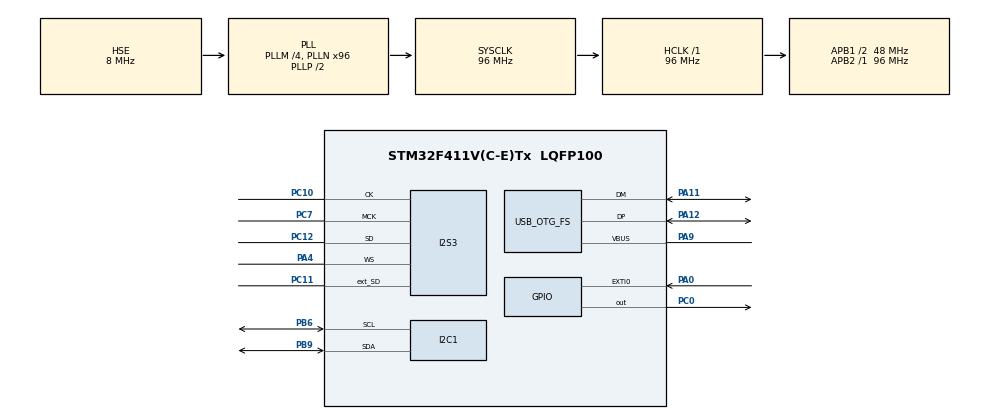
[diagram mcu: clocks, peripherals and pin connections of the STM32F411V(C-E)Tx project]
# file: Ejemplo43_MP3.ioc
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Dma.Request0=SPI3_TX
Dma.SPI3_TX.0.Direction=DMA_MEMORY_TO_PERIPH
Dma.SPI3_TX.0.FIFOMode=DMA_FIFOMODE_ENABLE
Dma.SPI3_TX.0.FIFOThreshold=DMA_FIFO_THRESHOLD_FULL
Dma.SPI3_TX.0.Instance=DMA1_Stream5
Dma.SPI3_TX.0.MemBurst=DMA_MBURST_SINGLE
Dma.SPI3_TX.0.MemDataAlignment=DMA_MDATAALIGN_HALFWORD
Dma.SPI3_TX.0.MemInc=DMA_MINC_ENABLE
Dma.SPI3_TX.0.Mode=DMA_CIRCULAR
Dma.SPI3_TX.0.PeriphBurst=DMA_PBURST_SINGLE
Dma.SPI3_TX.0.PeriphDataAlignment=DMA_PDATAALIGN_HALFWORD
Dma.SPI3_TX.0.PeriphInc=DMA_PINC_DISABLE
Dma.SPI3_TX.0.Priority=DMA_PRIORITY_LOW
FATFS._USE_LFN=1
I2S3.AudioFreq=I2S_AUDIOFREQ_44K
I2S3.ErrorAudioFreq=1.45 %
I2S3.FullDuplexMode=I2S_FULLDUPLEXMODE_ENABLE
I2S3.Instance=SPI$Index
I2S3.RealAudioFreq=44.642 KHz
I2S3.VirtualMode=I2S_MODE_MASTER
Mcu.Family=STM32F4
Mcu.Name=STM32F411V(C-E)Tx
Mcu.Package=LQFP100
NVIC.DMA1_Stream5_IRQn=true\:0\:0\:false\:false\:true\:false\:true\:true
NVIC.EXTI0_IRQn=true\:0\:0\:false\:false\:true\:true\:true\:true
NVIC.OTG_FS_IRQn=true\:0\:0\:false\:false\:true\:false\:true\:true
NVIC.PriorityGroup=NVIC_PRIORITYGROUP_4
PA0-WKUP.GPIO_PuPd=GPIO_PULLDOWN
PA0-WKUP.Signal=GPXTI0
PA11.Mode=Host_Only
PA11.Signal=USB_OTG_FS_DM
PA12.Mode=Host_Only
PA12.Signal=USB_OTG_FS_DP
PA13.Mode=Serial_Wire
PA13.Signal=SYS_JTMS-SWDIO
PA14.Mode=Serial_Wire
PA14.Signal=SYS_JTCK-SWCLK
PA4.Mode=Full_Duplex_Master
PA4.Signal=I2S3_WS
PA9.Mode=Activate_VBUS
PA9.Signal=USB_OTG_FS_VBUS
PB6.Mode=I2C
PB6.Signal=I2C1_SCL
PB9.Mode=I2C
PB9.Signal=I2C1_SDA
PC0.Signal=GPIO_Output
PC10.Mode=Full_Duplex_Master
PC10.Signal=I2S3_CK
PC11.Mode=Full_Duplex_Master
PC11.Signal=I2S3_ext_SD
PC12.Mode=Full_Duplex_Master
PC12.Signal=I2S3_SD
PC7.Mode=Master_Clock_Activated
PC7.Signal=I2S3_MCK
PH0\ -\ OSC_IN.Mode=HSE-External-Oscillator
PH0\ -\ OSC_IN.Signal=RCC_OSC_IN
PH1\ -\ OSC_OUT.Mode=HSE-External-Oscillator
PH1\ -\ OSC_OUT.Signal=RCC_OSC_OUT
ProjectManager.HeapSize=0x200
ProjectManager.StackSize=0x400
ProjectManager.TargetToolchain=STM32CubeIDE
RCC.48MHZClocksFreq_Value=48000000
RCC.AHBFreq_Value=96000000
RCC.APB1CLKDivider=RCC_HCLK_DIV2
RCC.APB1Freq_Value=48000000
RCC.APB1TimFreq_Value=96000000
RCC.APB2Freq_Value=96000000
RCC.APB2TimFreq_Value=96000000
RCC.CortexFreq_Value=96000000
RCC.HCLKFreq_Value=96000000
RCC.HSE_VALUE=8000000
RCC.HSI_VALUE=16000000
RCC.LSE_VALUE=32768
RCC.PLLI2SM=5
RCC.PLLI2SN=200
RCC.PLLM=4
RCC.PLLN=96
RCC.SYSCLKFreq_VALUE=96000000
RCC.SYSCLKSource=RCC_SYSCLKSOURCE_PLLCLK
RCC.VCOOutputFreq_Value=192000000
USB_HOST.BSP.number=1
USB_HOST.USBH_HandleTypeDef=hUsbHostFS
USB_HOST.VirtualModeFS=Msc
USB_HOST0.BSP.STBoard=false
USB_HOST0.BSP.api=Unknown
USB_HOST0.BSP.instance=PC0
USB_HOST0.BSP.ip=GPIO
USB_HOST0.BSP.mode=Output
USB_HOST0.BSP.name=Drive_VBUS_FS
USB_HOST0.BSP.solution=PC0
USB_OTG_FS.VirtualMode=Host_Only
USB_OTG_FS.phy_itface=HCD_PHY_EMBEDDED
VP_FATFS_VS_USB.Mode=USB
VP_USB_HOST_VS_USB_HOST_MSC_FS.Mode=MSC_FS
board=custom

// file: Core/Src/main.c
/* USER CODE BEGIN Header */
/**
  ******************************************************************************
  * @file           : main.c
  * @brief          : Main program body
  ******************************************************************************
  * @attention
  *
  * Copyright (c) 2024 STMicroelectronics.
  * All rights reserved.
  *
  * This software is licensed under terms that can be found in the LICENSE file
  * in the root directory of this software component.
  * If no LICENSE file comes with this software, it is provided AS-IS.
  *
  ******************************************************************************
  */
/* USER CODE END Header */
#include "main.h"
#include "fatfs.h"
#include "usb_host.h"

/* USER CODE BEGIN Includes */
#include "File_Handling.h"
#include "AUDIO.h"
#include "waveplayer.h"
/* USER CODE END Includes */

I2C_HandleTypeDef hi2c1;

I2S_HandleTypeDef hi2s3;
DMA_HandleTypeDef hdma_spi3_tx;

void SystemClock_Config(void);
static void MX_GPIO_Init(void);
static void MX_DMA_Init(void);
static void MX_I2C1_Init(void);
static void MX_I2S3_Init(void);
void MX_USB_HOST_Process(void);

/* USER CODE BEGIN 0 */
extern ApplicationTypeDef Appli_state ;
extern AUDIO_PLAYBACK_StateTypeDef AudioState;
int finalcancion = 0;
/* USER CODE END 0 */

int main(void)
{

  /* MCU Configuration--------------------------------------------------------*/

  /* Reset of all peripherals, Initializes the Flash interface and the Systick. */
  HAL_Init();

  /* Configure the system clock */
  SystemClock_Config();

  /* Initialize all configured peripherals */
  MX_GPIO_Init();
  MX_DMA_Init();
  MX_I2C1_Init();
  MX_I2S3_Init();
  MX_FATFS_Init();
  MX_USB_HOST_Init();

  /* Infinite loop */
  while (1)
  {
    MX_USB_HOST_Process();

    /* USER CODE BEGIN 3 */

    if (Appli_state == APPLICATION_READY) {
		Mount_USB();
		AUDIO_PLAYER_Start(0);
		while(!finalcancion){

			AUDIO_PLAYER_Process(TRUE);
			if (AudioState == AUDIO_STATE_STOP) {
				finalcancion = 1;
			}
		}
	}

  }
  /* USER CODE END 3 */
}

void SystemClock_Config(void)
{
  RCC_OscInitTypeDef RCC_OscInitStruct = {0};
  RCC_ClkInitTypeDef RCC_ClkInitStruct = {0};

  /** Configure the main internal regulator output voltage
  */
  __HAL_RCC_PWR_CLK_ENABLE();
  __HAL_PWR_VOLTAGESCALING_CONFIG(PWR_REGULATOR_VOLTAGE_SCALE1);

  /** Initializes the RCC Oscillators according to the specified parameters
  * in the RCC_OscInitTypeDef structure.
  */
  RCC_OscInitStruct.OscillatorType = RCC_OSCILLATORTYPE_HSE;
  RCC_OscInitStruct.HSEState = RCC_HSE_ON;
  RCC_OscInitStruct.PLL.PLLState = RCC_PLL_ON;
  RCC_OscInitStruct.PLL.PLLSource = RCC_PLLSOURCE_HSE;
  RCC_OscInitStruct.PLL.PLLM = 4;
  RCC_OscInitStruct.PLL.PLLN = 96;
  RCC_OscInitStruct.PLL.PLLP = RCC_PLLP_DIV2;
  RCC_OscInitStruct.PLL.PLLQ = 4;
  if (HAL_RCC_OscConfig(&RCC_OscInitStruct) != HAL_OK)
  {
    Error_Handler();
  }

  /** Initializes the CPU, AHB and APB buses clocks
  */
  RCC_ClkInitStruct.ClockType = RCC_CLOCKTYPE_HCLK|RCC_CLOCKTYPE_SYSCLK
                              |RCC_CLOCKTYPE_PCLK1|RCC_CLOCKTYPE_PCLK2;
  RCC_ClkInitStruct.SYSCLKSource = RCC_SYSCLKSOURCE_PLLCLK;
  RCC_ClkInitStruct.AHBCLKDivider = RCC_SYSCLK_DIV1;
  RCC_ClkInitStruct.APB1CLKDivider = RCC_HCLK_DIV2;
  RCC_ClkInitStruct.APB2CLKDivider = RCC_HCLK_DIV1;

  if (HAL_RCC_ClockConfig(&RCC_ClkInitStruct, FLASH_LATENCY_3) != HAL_OK)
  {
    Error_Handler();
  }
}

static void MX_I2C1_Init(void)
{

  hi2c1.Instance = I2C1;
  hi2c1.Init.ClockSpeed = 100000;
  hi2c1.Init.DutyCycle = I2C_DUTYCYCLE_2;
  hi2c1.Init.OwnAddress1 = 0;
  hi2c1.Init.AddressingMode = I2C_ADDRESSINGMODE_7BIT;
  hi2c1.Init.DualAddressMode = I2C_DUALADDRESS_DISABLE;
  hi2c1.Init.OwnAddress2 = 0;
  hi2c1.Init.GeneralCallMode = I2C_GENERALCALL_DISABLE;
  hi2c1.Init.NoStretchMode = I2C_NOSTRETCH_DISABLE;
  if (HAL_I2C_Init(&hi2c1) != HAL_OK)
  {
    Error_Handler();
  }

}

static void MX_I2S3_Init(void)
{

  hi2s3.Instance = SPI3;
  hi2s3.Init.Mode = I2S_MODE_MASTER_TX;
  hi2s3.Init.Standard = I2S_STANDARD_PHILIPS;
  hi2s3.Init.DataFormat = I2S_DATAFORMAT_16B;
  hi2s3.Init.MCLKOutput = I2S_MCLKOUTPUT_ENABLE;
  hi2s3.Init.AudioFreq = I2S_AUDIOFREQ_44K;
  hi2s3.Init.CPOL = I2S_CPOL_LOW;
  hi2s3.Init.ClockSource = I2S_CLOCK_PLL;
  hi2s3.Init.FullDuplexMode = I2S_FULLDUPLEXMODE_ENABLE;
  if (HAL_I2S_Init(&hi2s3) != HAL_OK)
  {
    Error_Handler();
  }

}

static void MX_DMA_Init(void)
{

  /* DMA controller clock enable */
  __HAL_RCC_DMA1_CLK_ENABLE();

  /* DMA interrupt init */
  /* DMA1_Stream5_IRQn interrupt configuration */
  HAL_NVIC_SetPriority(DMA1_Stream5_IRQn, 0, 0);
  HAL_NVIC_EnableIRQ(DMA1_Stream5_IRQn);

}

static void MX_GPIO_Init(void)
{
  GPIO_InitTypeDef GPIO_InitStruct = {0};

  /* GPIO Ports Clock Enable */
  __HAL_RCC_GPIOH_CLK_ENABLE();
  __HAL_RCC_GPIOC_CLK_ENABLE();
  __HAL_RCC_GPIOA_CLK_ENABLE();
  __HAL_RCC_GPIOB_CLK_ENABLE();

  /*Configure GPIO pin Output Level */
  HAL_GPIO_WritePin(GPIOC, GPIO_PIN_0, GPIO_PIN_RESET);

  /*Configure GPIO pin : PC0 */
  GPIO_InitStruct.Pin = GPIO_PIN_0;
  GPIO_InitStruct.Mode = GPIO_MODE_OUTPUT_PP;
  GPIO_InitStruct.Pull = GPIO_NOPULL;
  GPIO_InitStruct.Speed = GPIO_SPEED_FREQ_LOW;
  HAL_GPIO_Init(GPIOC, &GPIO_InitStruct);

  /*Configure GPIO pin : PA0 */
  GPIO_InitStruct.Pin = GPIO_PIN_0;
  GPIO_InitStruct.Mode = GPIO_MODE_IT_RISING;
  GPIO_InitStruct.Pull = GPIO_PULLDOWN;
  HAL_GPIO_Init(GPIOA, &GPIO_InitStruct);

  /* EXTI interrupt init*/
  HAL_NVIC_SetPriority(EXTI0_IRQn, 0, 0);
  HAL_NVIC_EnableIRQ(EXTI0_IRQn);

}

/* USER CODE BEGIN 4 */
void HAL_GPIO_EXTI_Callback(uint16_t GPIO_Pin){

		AudioState = AUDIO_STATE_NEXT;

}

/* USER CODE END 4 */

void Error_Handler(void)
{
  __disable_irq();
  while (1)
  {
  }
}
